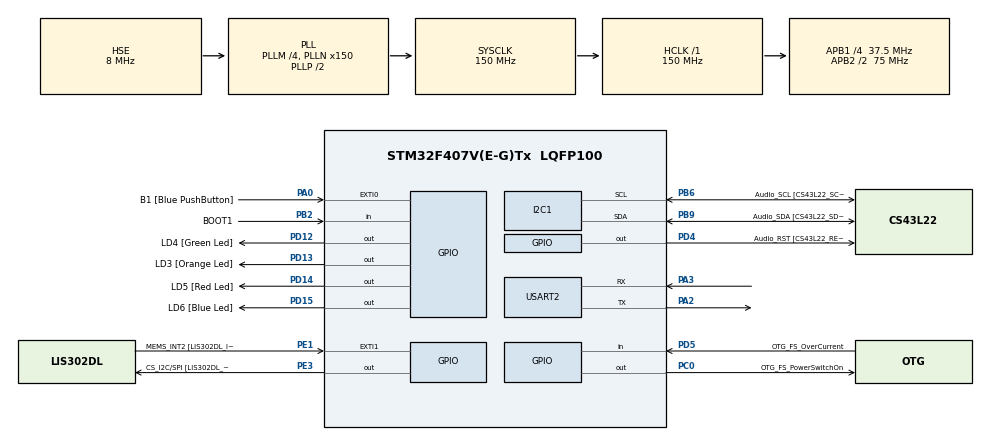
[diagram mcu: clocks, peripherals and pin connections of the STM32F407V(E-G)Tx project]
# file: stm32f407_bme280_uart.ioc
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Mcu.Family=STM32F4
Mcu.Name=STM32F407V(E-G)Tx
Mcu.Package=LQFP100
NVIC.PriorityGroup=NVIC_PRIORITYGROUP_0
PA0-WKUP.GPIO_Label=B1 [Blue PushButton]
PA0-WKUP.Signal=GPXTI0
PA10.GPIO_Label=OTG_FS_ID
PA10.GPIO_Mode=GPIO_MODE_AF_PP
PA10.GPIO_PuPd=GPIO_NOPULL
PA10.GPIO_Speed=GPIO_SPEED_FREQ_LOW
PA10.Signal=USB_OTG_FS_ID
PA11.GPIO_Label=OTG_FS_DM
PA11.GPIO_Mode=GPIO_MODE_AF_PP
PA11.GPIO_PuPd=GPIO_NOPULL
PA11.GPIO_Speed=GPIO_SPEED_FREQ_LOW
PA11.Signal=USB_OTG_FS_DM
PA12.GPIO_Label=OTG_FS_DP
PA12.GPIO_Mode=GPIO_MODE_AF_PP
PA12.GPIO_PuPd=GPIO_NOPULL
PA12.GPIO_Speed=GPIO_SPEED_FREQ_LOW
PA12.Signal=USB_OTG_FS_DP
PA13.GPIO_Label=SWDIO
PA13.Signal=SYS_JTMS-SWDIO
PA14.GPIO_Label=SWCLK
PA14.Signal=SYS_JTCK-SWCLK
PA2.Mode=Asynchronous
PA2.Signal=USART2_TX
PA3.Mode=Asynchronous
PA3.Signal=USART2_RX
PA4.GPIO_Label=I2S3_WS [CS43L22_LRCK]
PA4.GPIO_Mode=GPIO_MODE_AF_PP
PA4.GPIO_PuPd=GPIO_NOPULL
PA4.GPIO_Speed=GPIO_SPEED_FREQ_LOW
PA4.Signal=I2S3_WS
PA5.GPIO_Label=SPI1_SCK [LIS302DL_SCL/SPC]
PA5.GPIO_Mode=GPIO_MODE_AF_PP
PA5.GPIO_PuPd=GPIO_NOPULL
PA5.GPIO_Speed=GPIO_SPEED_FREQ_LOW
PA5.Signal=SPI1_SCK
PA6.GPIO_Label=SPI1_MISO [LIS302DL_SDO]
PA6.GPIO_Mode=GPIO_MODE_AF_PP
PA6.GPIO_PuPd=GPIO_NOPULL
PA6.GPIO_Speed=GPIO_SPEED_FREQ_LOW
PA6.Signal=SPI1_MISO
PA7.GPIO_Label=SPI1_MOSI [LIS302DL_SDA/SDI/SDO]
PA7.GPIO_Mode=GPIO_MODE_AF_PP
PA7.GPIO_PuPd=GPIO_NOPULL
PA7.GPIO_Speed=GPIO_SPEED_FREQ_LOW
PA7.Signal=SPI1_MOSI
PA9.GPIO_Label=VBUS_FS
PA9.GPIO_Mode=GPIO_MODE_INPUT
PA9.GPIO_PuPd=GPIO_NOPULL
PA9.Signal=USB_OTG_FS_VBUS
PB10.GPIO_Label=CLK_IN [MP45DT02_CLK]
PB10.GPIO_Mode=GPIO_MODE_AF_PP
PB10.GPIO_PuPd=GPIO_NOPULL
PB10.GPIO_Speed=GPIO_SPEED_FREQ_LOW
PB10.Signal=I2S2_CK
PB2.GPIO_Label=BOOT1
PB2.GPIO_Mode=GPIO_MODE_INPUT
PB2.GPIO_PuPd=GPIO_NOPULL
PB2.Signal=GPIO_Input
PB3.GPIO_Label=SWO
PB3.Signal=SYS_JTDO-SWO
PB6.GPIO_Label=Audio_SCL [CS43L22_SCL]
PB6.GPIO_Mode=GPIO_MODE_AF_OD
PB6.GPIO_PuPd=GPIO_NOPULL
PB6.GPIO_Speed=GPIO_SPEED_FREQ_LOW
PB6.Mode=I2C
PB6.Signal=I2C1_SCL
PB9.GPIO_Label=Audio_SDA [CS43L22_SDA]
PB9.GPIO_Mode=GPIO_MODE_AF_OD
PB9.GPIO_PuPd=GPIO_NOPULL
PB9.GPIO_Speed=GPIO_SPEED_FREQ_LOW
PB9.Mode=I2C
PB9.Signal=I2C1_SDA
PC0.GPIO_Label=OTG_FS_PowerSwitchOn
PC0.GPIO_PuPd=GPIO_NOPULL
PC0.GPIO_Speed=GPIO_SPEED_FREQ_LOW
PC0.PinState=GPIO_PIN_SET
PC0.Signal=GPIO_Output
PC10.GPIO_Label=I2S3_SCK [CS43L22_SCLK]
PC10.GPIO_Mode=GPIO_MODE_AF_PP
PC10.GPIO_PuPd=GPIO_NOPULL
PC10.GPIO_Speed=GPIO_SPEED_FREQ_LOW
PC10.Signal=I2S3_CK
PC12.GPIO_Label=I2S3_SD [CS43L22_SDIN]
PC12.GPIO_Mode=GPIO_MODE_AF_PP
PC12.GPIO_PuPd=GPIO_NOPULL
PC12.GPIO_Speed=GPIO_SPEED_FREQ_LOW
PC12.Signal=I2S3_SD
PC14-OSC32_IN.GPIO_Label=PC14-OSC32_IN
PC14-OSC32_IN.Signal=RCC_OSC32_IN
PC15-OSC32_OUT.GPIO_Label=PC15-OSC32_OUT
PC15-OSC32_OUT.Signal=RCC_OSC32_OUT
PC3.GPIO_Label=PDM_OUT [MP45DT02_DOUT]
PC3.GPIO_Mode=GPIO_MODE_AF_PP
PC3.GPIO_PuPd=GPIO_NOPULL
PC3.GPIO_Speed=GPIO_SPEED_FREQ_LOW
PC3.Signal=I2S2_SD
PC7.GPIO_Label=I2S3_MCK [CS43L22_MCLK]
PC7.GPIO_Mode=GPIO_MODE_AF_PP
PC7.GPIO_PuPd=GPIO_NOPULL
PC7.GPIO_Speed=GPIO_SPEED_FREQ_LOW
PC7.Signal=I2S3_MCK
PD12.GPIO_Label=LD4 [Green Led]
PD12.GPIO_PuPd=GPIO_NOPULL
PD12.GPIO_Speed=GPIO_SPEED_FREQ_LOW
PD12.Signal=GPIO_Output
PD13.GPIO_Label=LD3 [Orange Led]
PD13.GPIO_PuPd=GPIO_NOPULL
PD13.GPIO_Speed=GPIO_SPEED_FREQ_LOW
PD13.Signal=GPIO_Output
PD14.GPIO_Label=LD5 [Red Led]
PD14.GPIO_PuPd=GPIO_NOPULL
PD14.GPIO_Speed=GPIO_SPEED_FREQ_LOW
PD14.Signal=GPIO_Output
PD15.GPIO_Label=LD6 [Blue Led]
PD15.GPIO_PuPd=GPIO_NOPULL
PD15.GPIO_Speed=GPIO_SPEED_FREQ_LOW
PD15.Signal=GPIO_Output
PD4.GPIO_Label=Audio_RST [CS43L22_RESET]
PD4.GPIO_PuPd=GPIO_NOPULL
PD4.GPIO_Speed=GPIO_SPEED_FREQ_LOW
PD4.Signal=GPIO_Output
PD5.GPIO_Label=OTG_FS_OverCurrent
PD5.GPIO_Mode=GPIO_MODE_INPUT
PD5.GPIO_PuPd=GPIO_NOPULL
PD5.Signal=GPIO_Input
PE1.GPIO_Label=MEMS_INT2 [LIS302DL_INT2]
PE1.GPIO_ModeDefaultEXTI=GPIO_MODE_EVT_RISING
PE1.GPIO_PuPd=GPIO_NOPULL
PE1.Signal=GPXTI1
PE3.GPIO_Label=CS_I2C/SPI [LIS302DL_CS_I2C/SPI]
PE3.GPIO_PuPd=GPIO_NOPULL
PE3.GPIO_Speed=GPIO_SPEED_FREQ_LOW
PE3.Signal=GPIO_Output
PH0-OSC_IN.GPIO_Label=PH0-OSC_IN
PH0-OSC_IN.Mode=HSE-External-Oscillator
PH0-OSC_IN.Signal=RCC_OSC_IN
PH1-OSC_OUT.GPIO_Label=PH1-OSC_OUT
PH1-OSC_OUT.Mode=HSE-External-Oscillator
PH1-OSC_OUT.Signal=RCC_OSC_OUT
ProjectManager.HeapSize=0x200
ProjectManager.StackSize=0x400
ProjectManager.TargetToolchain=STM32CubeIDE
RCC.48MHZClocksFreq_Value=42857142.85714286
RCC.AHBFreq_Value=150000000
RCC.APB1CLKDivider=RCC_HCLK_DIV4
RCC.APB1Freq_Value=37500000
RCC.APB1TimFreq_Value=75000000
RCC.APB2CLKDivider=RCC_HCLK_DIV2
RCC.APB2Freq_Value=75000000
RCC.APB2TimFreq_Value=150000000
RCC.CortexFreq_Value=150000000
RCC.HCLKFreq_Value=150000000
RCC.HSE_VALUE=8000000
RCC.HSI_VALUE=16000000
RCC.LSE_VALUE=32768
RCC.PLLM=4
RCC.PLLN=150
RCC.PLLQ=7
RCC.PLLSourceVirtual=RCC_PLLSOURCE_HSE
RCC.SYSCLKFreq_VALUE=150000000
RCC.SYSCLKSource=RCC_SYSCLKSOURCE_PLLCLK
RCC.VCOOutputFreq_Value=300000000
USART2.VirtualMode=VM_ASYNC
board=STM32F407G-DISC1

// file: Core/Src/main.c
/* USER CODE BEGIN Header */
/**
  ******************************************************************************
  * @file           : main.c
  * @brief          : Main program body
  ******************************************************************************
  * @attention
  *
  * Copyright (c) 2024 STMicroelectronics.
  * All rights reserved.
  *
  * This software is licensed under terms that can be found in the LICENSE file
  * in the root directory of this software component.
  * If no LICENSE file comes with this software, it is provided AS-IS.
  *
  ******************************************************************************
  */
/* USER CODE END Header */
#include "main.h"
#include "bme280.h"
#include <string.h>
#include <stdio.h>
#include <stdlib.h>

I2C_HandleTypeDef hi2c1;
UART_HandleTypeDef huart2;

void SystemClock_Config(void);
static void MX_GPIO_Init(void);
static void MX_USART2_UART_Init(void);
static void MX_I2C1_Init(void);

/* USER CODE BEGIN 0 */
float temperature;
float humidity;
float pressure;

struct bme280_dev dev;          //Structure Variable of Type bme280_dev
struct bme280_data comp_data;   //Structure Variable of Type bme280_data
int8_t rslt;

char hum_string[50];
char temp_string[50];
char press_string[50];

int8_t user_i2c_read(uint8_t id, uint8_t reg_addr, uint8_t *data, uint16_t len)
{
  if(HAL_I2C_Master_Transmit(&hi2c1, (id << 1), &reg_addr, 1, 10) != HAL_OK) return -1;
  if(HAL_I2C_Master_Receive(&hi2c1, (id << 1) | 0x01, data, len, 10) != HAL_OK) return -1;

  return 0;
}

void user_delay_ms(uint32_t period)
{
  HAL_Delay(period);
}

int8_t user_i2c_write(uint8_t id, uint8_t reg_addr, uint8_t *data, uint16_t len)
{
    // Allocate memory for buffer to hold register address and data
    uint8_t *buf = malloc(len + 1);
    // Check if memory allocation was successful
    if (buf == NULL) {
        // Memory allocation failed
        return -1; // Return error code
    }

    // Put the register address at the beginning of the buffer
    buf[0] = reg_addr;
    // Copy the data to the buffer starting from the second byte
    memcpy(buf + 1, data, len);

    // Perform I2C transmission
    // Transmit the entire buffer including register address and data
    if (HAL_I2C_Master_Transmit(&hi2c1, (id << 1), buf, len + 1, HAL_MAX_DELAY) != HAL_OK) {
        // If transmission fails
        free(buf); // Free the allocated memory
        return -1; // Return error code
    }

    // Transmission successful, free the allocated memory
    free(buf);
    // Return success code
    return 0;
}

/* USER CODE END 0 */

int main(void)
{

  /* MCU Configuration--------------------------------------------------------*/

  /* Reset of all peripherals, Initializes the Flash interface and the Systick. */
  HAL_Init();

  /* Configure the system clock */
  SystemClock_Config();

  /* Initialize all configured peripherals */
  MX_GPIO_Init();
  MX_USART2_UART_Init();
  MX_I2C1_Init();
  /* USER CODE BEGIN 2 */
  /* BME280 init */
  dev.dev_id = BME280_I2C_ADDR_PRIM;
  dev.intf = BME280_I2C_INTF;
  dev.read = user_i2c_read;
  dev.write = user_i2c_write;
  dev.delay_ms = user_delay_ms;

  rslt = bme280_init(&dev);

  /* BME280 settings */
  dev.settings.osr_h = BME280_OVERSAMPLING_1X;
  dev.settings.osr_p = BME280_OVERSAMPLING_16X;
  dev.settings.osr_t = BME280_OVERSAMPLING_2X;
  dev.settings.filter = BME280_FILTER_COEFF_16;
  rslt = bme280_set_sensor_settings(BME280_OSR_PRESS_SEL | BME280_OSR_TEMP_SEL | BME280_OSR_HUM_SEL | BME280_FILTER_SEL, &dev);

  /* USER CODE END 2 */

  /* Infinite loop */
  while (1)
  {
	/* Forced mode setting, switched to SLEEP mode after measurement */
	rslt = bme280_set_sensor_mode(BME280_FORCED_MODE, &dev);
	dev.delay_ms(40);
	/*Get Data */
	rslt = bme280_get_sensor_data(BME280_ALL, &comp_data, &dev);
	if(rslt == BME280_OK)
	{
	  temperature = comp_data.temperature / 100.0;
	  humidity = comp_data.humidity / 1024.0;
	  pressure = comp_data.pressure / 10000.0;

      sprintf(hum_string, "Humidity %03.1f %% \r\n", humidity);
      sprintf(temp_string, "Temperature %03.1f C \r\n", temperature);
      sprintf(press_string, "Pressure %03.1f hPa \r\n", pressure);

	}

	HAL_Delay(200);

	HAL_UART_Transmit(&huart2, (uint8_t*)hum_string, sizeof(temp_string), 10);
	HAL_UART_Transmit(&huart2, (uint8_t*)temp_string, sizeof(temp_string), 10);
	HAL_UART_Transmit(&huart2, (uint8_t*)press_string, sizeof(temp_string), 10);

  }
}

void SystemClock_Config(void)
{
  RCC_OscInitTypeDef RCC_OscInitStruct = {0};
  RCC_ClkInitTypeDef RCC_ClkInitStruct = {0};

  /** Configure the main internal regulator output voltage
  */
  __HAL_RCC_PWR_CLK_ENABLE();
  __HAL_PWR_VOLTAGESCALING_CONFIG(PWR_REGULATOR_VOLTAGE_SCALE1);

  /** Initializes the RCC Oscillators according to the specified parameters
  * in the RCC_OscInitTypeDef structure.
  */
  RCC_OscInitStruct.OscillatorType = RCC_OSCILLATORTYPE_HSE;
  RCC_OscInitStruct.HSEState = RCC_HSE_ON;
  RCC_OscInitStruct.PLL.PLLState = RCC_PLL_ON;
  RCC_OscInitStruct.PLL.PLLSource = RCC_PLLSOURCE_HSE;
  RCC_OscInitStruct.PLL.PLLM = 4;
  RCC_OscInitStruct.PLL.PLLN = 150;
  RCC_OscInitStruct.PLL.PLLP = RCC_PLLP_DIV2;
  RCC_OscInitStruct.PLL.PLLQ = 7;
  if (HAL_RCC_OscConfig(&RCC_OscInitStruct) != HAL_OK)
  {
    Error_Handler();
  }

  /** Initializes the CPU, AHB and APB buses clocks
  */
  RCC_ClkInitStruct.ClockType = RCC_CLOCKTYPE_HCLK|RCC_CLOCKTYPE_SYSCLK
                              |RCC_CLOCKTYPE_PCLK1|RCC_CLOCKTYPE_PCLK2;
  RCC_ClkInitStruct.SYSCLKSource = RCC_SYSCLKSOURCE_PLLCLK;
  RCC_ClkInitStruct.AHBCLKDivider = RCC_SYSCLK_DIV1;
  RCC_ClkInitStruct.APB1CLKDivider = RCC_HCLK_DIV4;
  RCC_ClkInitStruct.APB2CLKDivider = RCC_HCLK_DIV2;

  if (HAL_RCC_ClockConfig(&RCC_ClkInitStruct, FLASH_LATENCY_4) != HAL_OK)
  {
    Error_Handler();
  }
}

static void MX_I2C1_Init(void)
{

  hi2c1.Instance = I2C1;
  hi2c1.Init.ClockSpeed = 100000;
  hi2c1.Init.DutyCycle = I2C_DUTYCYCLE_2;
  hi2c1.Init.OwnAddress1 = 0;
  hi2c1.Init.AddressingMode = I2C_ADDRESSINGMODE_7BIT;
  hi2c1.Init.DualAddressMode = I2C_DUALADDRESS_DISABLE;
  hi2c1.Init.OwnAddress2 = 0;
  hi2c1.Init.GeneralCallMode = I2C_GENERALCALL_DISABLE;
  hi2c1.Init.NoStretchMode = I2C_NOSTRETCH_DISABLE;
  if (HAL_I2C_Init(&hi2c1) != HAL_OK)
  {
    Error_Handler();
  }

}

static void MX_USART2_UART_Init(void)
{

  huart2.Instance = USART2;
  huart2.Init.BaudRate = 115200;
  huart2.Init.WordLength = UART_WORDLENGTH_8B;
  huart2.Init.StopBits = UART_STOPBITS_1;
  huart2.Init.Parity = UART_PARITY_NONE;
  huart2.Init.Mode = UART_MODE_TX_RX;
  huart2.Init.HwFlowCtl = UART_HWCONTROL_NONE;
  huart2.Init.OverSampling = UART_OVERSAMPLING_16;
  if (HAL_UART_Init(&huart2) != HAL_OK)
  {
    Error_Handler();
  }

}

static void MX_GPIO_Init(void)
{
  GPIO_InitTypeDef GPIO_InitStruct = {0};

  /* GPIO Ports Clock Enable */
  __HAL_RCC_GPIOE_CLK_ENABLE();
  __HAL_RCC_GPIOC_CLK_ENABLE();
  __HAL_RCC_GPIOH_CLK_ENABLE();
  __HAL_RCC_GPIOA_CLK_ENABLE();
  __HAL_RCC_GPIOB_CLK_ENABLE();
  __HAL_RCC_GPIOD_CLK_ENABLE();

  /*Configure GPIO pin Output Level */
  HAL_GPIO_WritePin(CS_I2C_SPI_GPIO_Port, CS_I2C_SPI_Pin, GPIO_PIN_RESET);

  /*Configure GPIO pin Output Level */
  HAL_GPIO_WritePin(OTG_FS_PowerSwitchOn_GPIO_Port, OTG_FS_PowerSwitchOn_Pin, GPIO_PIN_SET);

  /*Configure GPIO pin Output Level */
  HAL_GPIO_WritePin(GPIOD, LD4_Pin|LD3_Pin|LD5_Pin|LD6_Pin
                          |Audio_RST_Pin, GPIO_PIN_RESET);

  /*Configure GPIO pin : CS_I2C_SPI_Pin */
  GPIO_InitStruct.Pin = CS_I2C_SPI_Pin;
  GPIO_InitStruct.Mode = GPIO_MODE_OUTPUT_PP;
  GPIO_InitStruct.Pull = GPIO_NOPULL;
  GPIO_InitStruct.Speed = GPIO_SPEED_FREQ_LOW;
  HAL_GPIO_Init(CS_I2C_SPI_GPIO_Port, &GPIO_InitStruct);

  /*Configure GPIO pin : OTG_FS_PowerSwitchOn_Pin */
  GPIO_InitStruct.Pin = OTG_FS_PowerSwitchOn_Pin;
  GPIO_InitStruct.Mode = GPIO_MODE_OUTPUT_PP;
  GPIO_InitStruct.Pull = GPIO_NOPULL;
  GPIO_InitStruct.Speed = GPIO_SPEED_FREQ_LOW;
  HAL_GPIO_Init(OTG_FS_PowerSwitchOn_GPIO_Port, &GPIO_InitStruct);

  /*Configure GPIO pin : PDM_OUT_Pin */
  GPIO_InitStruct.Pin = PDM_OUT_Pin;
  GPIO_InitStruct.Mode = GPIO_MODE_AF_PP;
  GPIO_InitStruct.Pull = GPIO_NOPULL;
  GPIO_InitStruct.Speed = GPIO_SPEED_FREQ_LOW;
  GPIO_InitStruct.Alternate = GPIO_AF5_SPI2;
  HAL_GPIO_Init(PDM_OUT_GPIO_Port, &GPIO_InitStruct);

  /*Configure GPIO pin : B1_Pin */
  GPIO_InitStruct.Pin = B1_Pin;
  GPIO_InitStruct.Mode = GPIO_MODE_IT_RISING;
  GPIO_InitStruct.Pull = GPIO_NOPULL;
  HAL_GPIO_Init(B1_GPIO_Port, &GPIO_InitStruct);

  /*Configure GPIO pin : I2S3_WS_Pin */
  GPIO_InitStruct.Pin = I2S3_WS_Pin;
  GPIO_InitStruct.Mode = GPIO_MODE_AF_PP;
  GPIO_InitStruct.Pull = GPIO_NOPULL;
  GPIO_InitStruct.Speed = GPIO_SPEED_FREQ_LOW;
  GPIO_InitStruct.Alternate = GPIO_AF6_SPI3;
  HAL_GPIO_Init(I2S3_WS_GPIO_Port, &GPIO_InitStruct);

  /*Configure GPIO pins : SPI1_SCK_Pin SPI1_MISO_Pin SPI1_MOSI_Pin */
  GPIO_InitStruct.Pin = SPI1_SCK_Pin|SPI1_MISO_Pin|SPI1_MOSI_Pin;
  GPIO_InitStruct.Mode = GPIO_MODE_AF_PP;
  GPIO_InitStruct.Pull = GPIO_NOPULL;
  GPIO_InitStruct.Speed = GPIO_SPEED_FREQ_LOW;
  GPIO_InitStruct.Alternate = GPIO_AF5_SPI1;
  HAL_GPIO_Init(GPIOA, &GPIO_InitStruct);

  /*Configure GPIO pin : BOOT1_Pin */
  GPIO_InitStruct.Pin = BOOT1_Pin;
  GPIO_InitStruct.Mode = GPIO_MODE_INPUT;
  GPIO_InitStruct.Pull = GPIO_NOPULL;
  HAL_GPIO_Init(BOOT1_GPIO_Port, &GPIO_InitStruct);

  /*Configure GPIO pin : CLK_IN_Pin */
  GPIO_InitStruct.Pin = CLK_IN_Pin;
  GPIO_InitStruct.Mode = GPIO_MODE_AF_PP;
  GPIO_InitStruct.Pull = GPIO_NOPULL;
  GPIO_InitStruct.Speed = GPIO_SPEED_FREQ_LOW;
  GPIO_InitStruct.Alternate = GPIO_AF5_SPI2;
  HAL_GPIO_Init(CLK_IN_GPIO_Port, &GPIO_InitStruct);

  /*Configure GPIO pins : LD4_Pin LD3_Pin LD5_Pin LD6_Pin
                           Audio_RST_Pin */
  GPIO_InitStruct.Pin = LD4_Pin|LD3_Pin|LD5_Pin|LD6_Pin
                          |Audio_RST_Pin;
  GPIO_InitStruct.Mode = GPIO_MODE_OUTPUT_PP;
  GPIO_InitStruct.Pull = GPIO_NOPULL;
  GPIO_InitStruct.Speed = GPIO_SPEED_FREQ_LOW;
  HAL_GPIO_Init(GPIOD, &GPIO_InitStruct);

  /*Configure GPIO pins : I2S3_MCK_Pin I2S3_SCK_Pin I2S3_SD_Pin */
  GPIO_InitStruct.Pin = I2S3_MCK_Pin|I2S3_SCK_Pin|I2S3_SD_Pin;
  GPIO_InitStruct.Mode = GPIO_MODE_AF_PP;
  GPIO_InitStruct.Pull = GPIO_NOPULL;
  GPIO_InitStruct.Speed = GPIO_SPEED_FREQ_LOW;
  GPIO_InitStruct.Alternate = GPIO_AF6_SPI3;
  HAL_GPIO_Init(GPIOC, &GPIO_InitStruct);

  /*Configure GPIO pin : VBUS_FS_Pin */
  GPIO_InitStruct.Pin = VBUS_FS_Pin;
  GPIO_InitStruct.Mode = GPIO_MODE_INPUT;
  GPIO_InitStruct.Pull = GPIO_NOPULL;
  HAL_GPIO_Init(VBUS_FS_GPIO_Port, &GPIO_InitStruct);

  /*Configure GPIO pins : OTG_FS_ID_Pin OTG_FS_DM_Pin OTG_FS_DP_Pin */
  GPIO_InitStruct.Pin = OTG_FS_ID_Pin|OTG_FS_DM_Pin|OTG_FS_DP_Pin;
  GPIO_InitStruct.Mode = GPIO_MODE_AF_PP;
  GPIO_InitStruct.Pull = GPIO_NOPULL;
  GPIO_InitStruct.Speed = GPIO_SPEED_FREQ_LOW;
  GPIO_InitStruct.Alternate = GPIO_AF10_OTG_FS;
  HAL_GPIO_Init(GPIOA, &GPIO_InitStruct);

  /*Configure GPIO pin : OTG_FS_OverCurrent_Pin */
  GPIO_InitStruct.Pin = OTG_FS_OverCurrent_Pin;
  GPIO_InitStruct.Mode = GPIO_MODE_INPUT;
  GPIO_InitStruct.Pull = GPIO_NOPULL;
  HAL_GPIO_Init(OTG_FS_OverCurrent_GPIO_Port, &GPIO_InitStruct);

  /*Configure GPIO pin : MEMS_INT2_Pin */
  GPIO_InitStruct.Pin = MEMS_INT2_Pin;
  GPIO_InitStruct.Mode = GPIO_MODE_EVT_RISING;
  GPIO_InitStruct.Pull = GPIO_NOPULL;
  HAL_GPIO_Init(MEMS_INT2_GPIO_Port, &GPIO_InitStruct);

}

void Error_Handler(void)
{
  __disable_irq();
  while (1)
  {
  }
}
